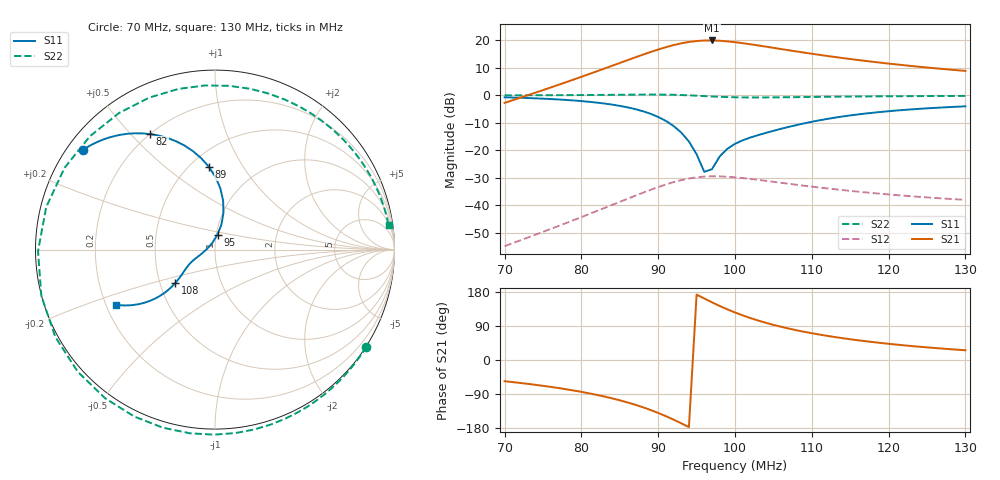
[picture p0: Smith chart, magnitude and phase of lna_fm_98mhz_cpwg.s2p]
# HZ S RI R 50
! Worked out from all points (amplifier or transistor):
!   61 points, 70 MHz to 130 MHz, reference 50 ohm
!   highest |S21| = 20.0 dB at 97 MHz (marker M1)
!   |S21| within 3 dB of that: 90.35 MHz to 105.7 MHz (15.36 MHz wide, 15.7 % of centre)
!   unconditionally stable (mu >= 1): nowhere
!   at 80 MHz: K = 0.35, MSG = 25.5 dB, |S12| = -44.3 dB
!   at 100 MHz: K = 0.28, MSG = 24.6 dB, |S12| = -29.8 dB
!   at 130 MHz: K = 0.29, MSG = 23.5 dB, |S12| = -38.1 dB
!   S11 on the Smith chart (normalised r, x): 70 MHz: 0.05, +0.34; 82 MHz: 0.20, +0.57; 89 MHz: 0.61, +0.72; 95 MHz: 1.01, +0.17; 108 MHz: 0.60, -0.24; 130 MHz: 0.24, -0.25
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7e7  -0.7332 0.557  0.4082 -0.6054  0.00166 0.000687  0.844 -0.5399
7.5e7  -0.6151 0.6161  0.4637 -1.157  0.00321 0.000648  0.7428 -0.6781
8e7  -0.4456 0.648  0.223 -2.165  0.00607 -0.000382  0.565 -0.841
8.2e7  -0.3615 0.6438  -0.0989 -2.738  0.00769 -0.00152  0.4549 -0.9103
8.6e7  -0.1715 0.5806  -1.636 -4.054  0.0113 -0.00663  0.1145 -1.022
8.9e7  -0.0337 0.4609  -4.104 -4.58  0.0123 -0.0145  -0.2891 -0.9926
9e7  0.00254 0.4047  -5.213 -4.421  0.0115 -0.018  -0.4493 -0.9302
9.2e7  0.0452 0.2736  -7.595 -3.169  0.00685 -0.0254  -0.7646 -0.6807
9.4e7  0.036 0.1401  -9.375 -0.4639  -0.00237 -0.0305  -0.9676 -0.2575
9.5e7  0.014 0.0835  -9.679 1.272  -0.00812 -0.0311  -0.986 -0.00831
9.6e7  -0.0147 0.0378  -9.49 3.04  -0.0139 -0.0301  -0.9404 0.2365
9.7e7  -0.0452 0.00313  -8.842 4.655  -0.0191 -0.0277  -0.8388 0.4547
9.8e7  -0.0737 -0.0223  -7.849 5.981  -0.0233 -0.0241  -0.6972 0.6314
1e8  -0.118 -0.0571  -5.388 7.575  -0.0282 -0.0156  -0.3661 0.8469
1.02e8  -0.1473 -0.0863  -3.011 7.97  -0.0291 -0.00753  -0.0547 0.9145
1.04e8  -0.1704 -0.1179  -1.107 7.638  -0.0278 -0.00111  0.1971 0.8957
1.06e8  -0.1938 -0.1517  0.2849 6.965  -0.0253 0.00359  0.3887 0.8361
1.08e8  -0.2203 -0.1851  1.251 6.181  -0.0225 0.00686  0.5321 0.761
1.1e8  -0.2504 -0.2157  1.897 5.403  -0.0198 0.00907  0.6394 0.6828
1.14e8  -0.3168 -0.2638  2.566 4.04  -0.015 0.0114  0.7821 0.536
1.2e8  -0.4167 -0.3021  2.783 2.573  -0.00979 0.0123  0.8949 0.3543
1.3e8  -0.551 -0.3077  2.515 1.209  -0.00477 0.0116  0.9674 0.1351
